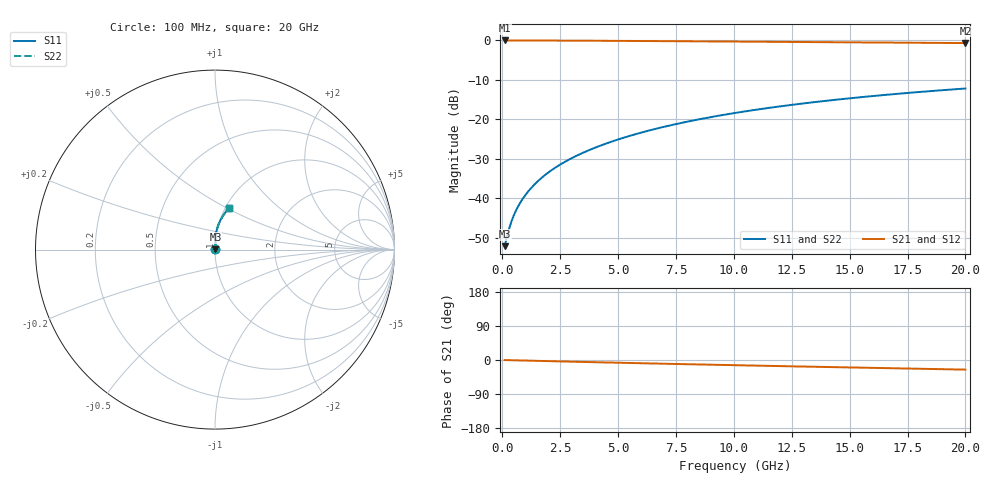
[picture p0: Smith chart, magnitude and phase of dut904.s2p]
! Touchstone file exported from HFSS 2024.1.0
!  File:  C:/UserFiles/LocalFiles/RDL_TSV_Batchsim/temp_RDL_top_904_1779935774.aedt
!  Generated:  10:39:36 AM May 28, 2026
!  Design:  RDL_top
!  Project:  temp_RDL_top_904_1779935774
!  Setup:  Setup1
!  Solution:  Sweep
! Variables:
!  dtsv = 10.80580581um
!  hbump = 3um
!  htsv = 51.3um
!  ldown = 100um
!  lrdl = 354.3um
!  p = 40
!  p1 = 45.16um
!  rhole = 1um
!  t = 450um
!  tdown = 3.915915916um
!  trdl = 2.88um
!  wdown = 15.38538539um
!  wrdl = 22.97um
# GHz S MA R 50.000000
! Terminal data exported
! Port[1] = Box2_T1
! Port[2] = Box2_T2
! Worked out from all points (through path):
!   200 points, 100 MHz to 20 GHz, reference 50 ohm
!   highest |S21| = -0.02 dB at 100 MHz (marker M1); lowest = -0.7 dB at 20 GHz (marker M2)
!   group delay of S21, straight-line fit = 3.49 ps
!   lowest |S11| = -52.1 dB at 100 MHz (marker M3), VSWR 1.00, Z = 50.2 + j0.12 ohm
!   |S11| at or under -10 dB: start of sweep to end of sweep
!   |S22| runs from -52.1 to -12.2 dB; largest |S21 - S12| = 3.5e-15
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0.1  0.002473 28.8  0.9978 -0.2  0.9978 -0.2  0.002473 28.8
! Gamma 0 0 0 0
! Port Impedance 50 0 50 0
0.3  0.004173 55.8  0.9976 -0.5  0.9976 -0.5  0.004173 55.8
0.4  0.005134 61.7  0.9975 -0.6  0.9975 -0.6  0.005134 61.7
0.5  0.006101 65.7  0.9973 -0.8  0.9973 -0.8  0.006101 65.7
0.6  0.007072 68.8  0.9972 -0.9  0.9972 -0.9  0.007072 68.8
0.8  0.009029 73.1  0.997 -1.2  0.997 -1.2  0.009029 73.1
1  0.01101 76.1  0.9967 -1.5  0.9967 -1.5  0.01101 76.1
1.2  0.01303 78.3  0.9965 -1.8  0.9965 -1.8  0.01303 78.3
1.4  0.01507 80.0  0.9962 -2.1  0.9962 -2.1  0.01507 80.0
1.7  0.01818 82.0  0.9957 -2.5  0.9957 -2.5  0.01818 82.0
2.2  0.02347 84.1  0.9947 -3.3  0.9947 -3.3  0.02347 84.1
2.8  0.03 85.7  0.9933 -4.1  0.9933 -4.1  0.03 85.7
3.5  0.03786 86.8  0.9914 -5.1  0.9914 -5.1  0.03786 86.8
4.2  0.04598 87.4  0.9891 -6.1  0.9891 -6.1  0.04598 87.4
5  0.05556 87.7  0.9863 -7.2  0.9863 -7.2  0.05556 87.7
6.8  0.07805 87.1  0.9793 -9.6  0.9793 -9.6  0.07805 87.1
8.4  0.09876 85.7  0.9727 -11.7  0.9727 -11.7  0.09876 85.7
10.1  0.1211 83.9  0.9656 -13.8  0.9656 -13.8  0.1211 83.9
11.7  0.1421 81.9  0.959 -15.8  0.959 -15.8  0.1421 81.9
13.4  0.1642 79.7  0.9519 -17.8  0.9519 -17.8  0.1642 79.7
16.7  0.206 75.3  0.9383 -21.6  0.9383 -21.6  0.206 75.4
20  0.2458 71.1  0.9244 -25.4  0.9244 -25.4  0.2458 71.1
